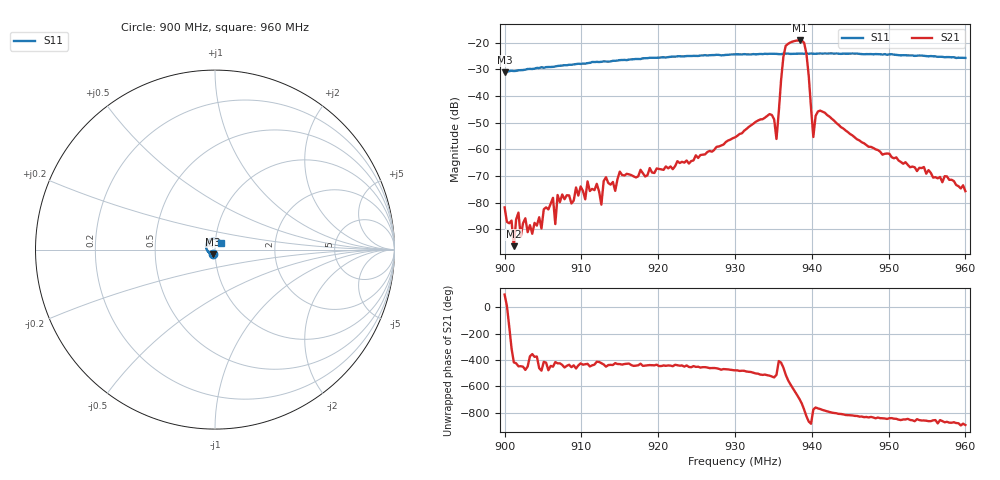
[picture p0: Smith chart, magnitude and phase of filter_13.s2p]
!File created by NanoVNA-F V2
# Hz S RI R 50
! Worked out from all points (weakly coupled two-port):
!   201 points, 900 MHz to 960 MHz, reference 50 ohm
!   highest |S21| = -19.17 dB at 938.4 MHz (marker M1); lowest = -96.3 dB at 901.2 MHz (marker M2)
!   lowest |S11| = -31.2 dB at 900 MHz (marker M3), VSWR 1.06, Z = 48.6 - j2.33 ohm
!   |S11| at or under -10 dB: start of sweep to end of sweep
!   S12 and S22 are empty: the file has one direction only
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9e8  -0.0137 -0.024  -8e-06 8.1e-05  0 0  0 0
9.012e8  -0.017 -0.0239  8e-06 -1.3e-05  0 0  0 0
9.102e8  -0.0393 -0.0102  3.9e-05 -0.000161  0 0  0 0
9.12e8  -0.0434 -0.00463  0.000134 -0.000181  0 0  0 0
9.126e8  -0.0435 -0.0046  3.9e-05 -8.3e-05  0 0  0 0
9.132e8  -0.0442 -0.00287  -5e-06 -0.0003  0 0  0 0
9.144e8  -0.0457 0.000329  7.2e-05 -0.00015  0 0  0 0
9.15e8  -0.047 0.00243  0.000122 -0.000362  0 0  0 0
9.201e8  -0.0495 0.0168  2.7e-05 -0.000428  0 0  0 0
9.3e8  -0.0403 0.0449  -0.00081 -0.00146  0 0  0 0
9.345e8  -0.0313 0.0535  -0.00427 -0.00164  0 0  0 0
9.351e8  -0.0299 0.0543  -0.0036 -0.000473  0 0  0 0
9.354e8  -0.0282 0.0548  -0.00139 -0.000717  0 0  0 0
9.363e8  -0.0263 0.0564  -0.00782 -0.0537  0 0  0 0
9.366e8  -0.0254 0.0569  -0.0763 -0.0423  0 0  0 0
9.384e8  -0.0208 0.0588  0.1011 0.0435  0 0  0 0
9.393e8  -0.0176 0.0603  -0.0181 -0.0595  0 0  0 0
9.402e8  -0.0145 0.0603  0.000973 -0.0014  0 0  0 0
9.405e8  -0.0146 0.0603  0.00323 -0.00275  0 0  0 0
9.411e8  -0.0137 0.0612  0.00326 -0.0042  0 0  0 0
9.501e8  0.0126 0.059  -0.000437 -0.000702  0 0  0 0
9.6e8  0.0352 0.0379  -0.000163 -1.9e-05  0 0  0 0
